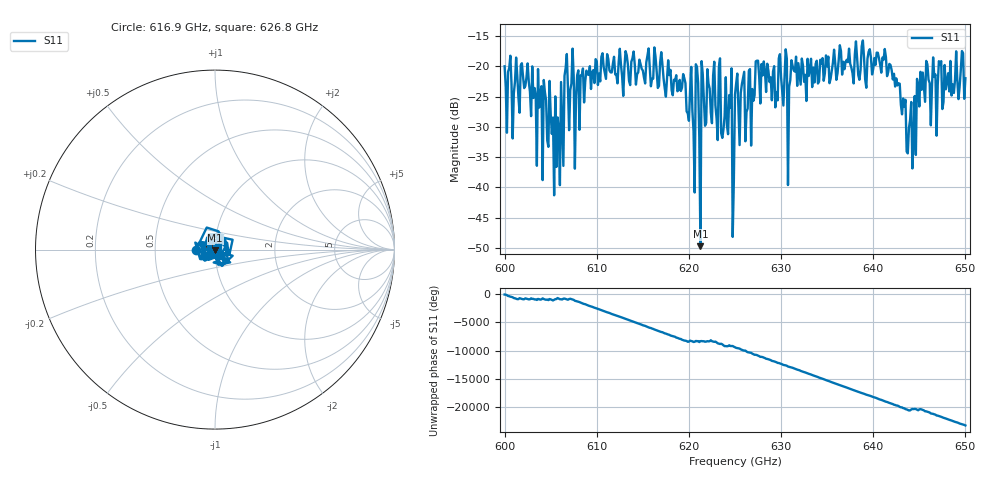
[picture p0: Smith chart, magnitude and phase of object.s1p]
!Created with skrf (http://scikit-rf.org).
# GHz S MA R 50.0
!freq magS11 angS11
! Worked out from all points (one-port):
!   401 points, 600 GHz to 650 GHz, reference 50 ohm
!   lowest |S11| = -49.7 dB at 621.2 GHz (marker M1), VSWR 1.01, Z = 50.2 - j0.284 ohm
!   |S11| at or under -10 dB: start of sweep to end of sweep
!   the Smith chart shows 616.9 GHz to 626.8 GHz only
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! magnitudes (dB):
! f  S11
! 600 GHz  -20.0
! 602 GHz  -21.7
! 605 GHz  -27.8
! 605.4 GHz  -41.3
! 606.2 GHz  -29.5
! 606.8 GHz  -17.9
! 607.9 GHz  -21.4
! 609 GHz  -21.3
! 612.5 GHz  -17.1
! 618.8 GHz  -24.1
! 621.2 GHz  -49.7
! 622.5 GHz  -29.4
! 623.8 GHz  -30.4
! 624.4 GHz  -24.7
! 624.6 GHz  -20.3
! 625 GHz  -24.7
! 625.2 GHz  -21.2
! 627 GHz  -25.7
! 627.4 GHz  -19.1
! 631 GHz  -22.3
! 631.2 GHz  -19.9
! 637.5 GHz  -19.5
! 641.2 GHz  -17.1
! 643.8 GHz  -34.4
! 644.4 GHz  -31.9
! 645 GHz  -26.6
! 645.6 GHz  -25.8
! 650 GHz  -22.0
